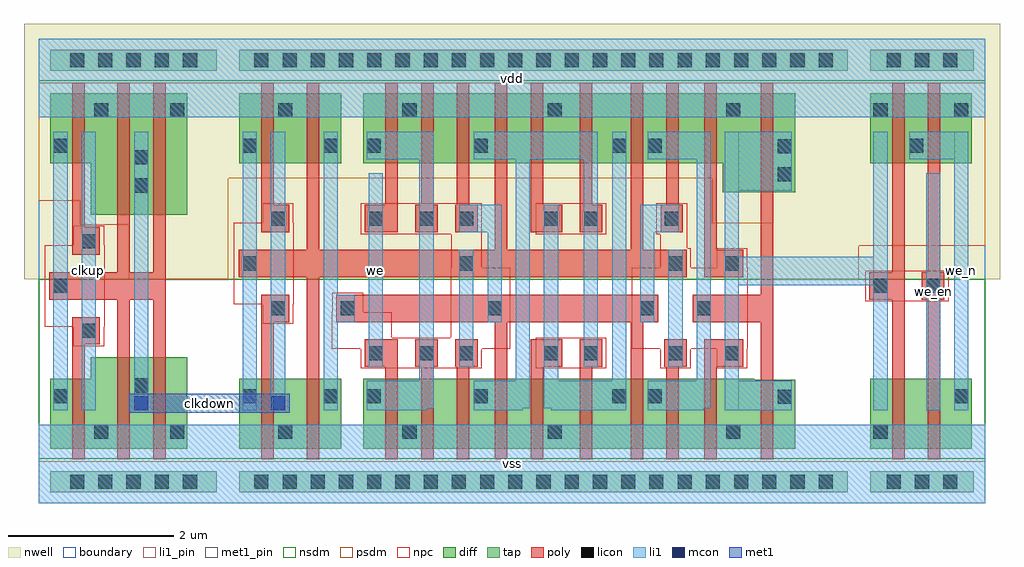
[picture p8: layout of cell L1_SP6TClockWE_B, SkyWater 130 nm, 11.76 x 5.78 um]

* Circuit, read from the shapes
.subckt L1_SP6TClockWE_B clkdown clkup vdd vss we we_en we_n
XM1 vss clkup n1 vss sky130_fd_pr__nfet_01v8 w=0.84 l=0.15
XM2 clkdown n1 vss vss sky130_fd_pr__nfet_01v8 w=1.1 l=0.15 m=2
XM3 vss clkdown n2 vss sky130_fd_pr__nfet_01v8 w=0.84 l=0.15
XM4 n3 n2 vss vss sky130_fd_pr__nfet_01v8 w=0.84 l=0.15
XM5 vss we n4 vss sky130_fd_pr__nfet_01v8 w=0.84 l=0.15
XM6 n5 n4 vss vss sky130_fd_pr__nfet_01v8 w=0.84 l=0.15
XM7 n6 n2 n5 vss sky130_fd_pr__nfet_01v8 w=0.84 l=0.15
XM8 n7 n3 n6 vss sky130_fd_pr__nfet_01v8 w=0.84 l=0.15
XM9 vss n8 n7 vss sky130_fd_pr__nfet_01v8 w=0.84 l=0.15
XM10 n8 n6 vss vss sky130_fd_pr__nfet_01v8 w=0.84 l=0.15
XM11 n9 n3 n8 vss sky130_fd_pr__nfet_01v8 w=0.84 l=0.15
XM12 n10 n2 n9 vss sky130_fd_pr__nfet_01v8 w=0.84 l=0.15
XM13 vss L1_nand2_x0_0/i0 n10 vss sky130_fd_pr__nfet_01v8 w=0.84 l=0.15
XM14 L1_nand2_x0_0/i0 n9 vss vss sky130_fd_pr__nfet_01v8 w=0.83 l=0.15
XM15 n11 L1_nand2_x0_0/i0 vss vss sky130_fd_pr__nfet_01v8 w=0.84 l=0.15
XM16 we_n we_en n11 vss sky130_fd_pr__nfet_01v8 w=0.84 l=0.15
XM17 vdd clkup n1 vdd sky130_fd_pr__pfet_01v8 w=0.84 l=0.15
XM18 clkdown n1 vdd vdd sky130_fd_pr__pfet_01v8 w=1.46 l=0.15 m=2
XM19 vdd clkdown n2 vdd sky130_fd_pr__pfet_01v8 w=0.84 l=0.15
XM20 n3 n2 vdd vdd sky130_fd_pr__pfet_01v8 w=0.84 l=0.15
XM21 vdd we n4 vdd sky130_fd_pr__pfet_01v8 w=0.84 l=0.15
XM22 n12 n4 vdd vdd sky130_fd_pr__pfet_01v8 w=0.84 l=0.15
XM23 n6 n3 n12 vdd sky130_fd_pr__pfet_01v8 w=0.84 l=0.15
XM24 n13 n2 n6 vdd sky130_fd_pr__pfet_01v8 w=0.84 l=0.15
XM25 vdd n8 n13 vdd sky130_fd_pr__pfet_01v8 w=0.84 l=0.15
XM26 n8 n6 vdd vdd sky130_fd_pr__pfet_01v8 w=0.84 l=0.15
XM27 n9 n2 n8 vdd sky130_fd_pr__pfet_01v8 w=0.84 l=0.15
XM28 n14 n3 n9 vdd sky130_fd_pr__pfet_01v8 w=0.84 l=0.15
XM29 vdd L1_nand2_x0_0/i0 n14 vdd sky130_fd_pr__pfet_01v8 w=0.84 l=0.15
XM30 L1_nand2_x0_0/i0 n9 vdd vdd sky130_fd_pr__pfet_01v8 w=1.19 l=0.15
XM31 we_n L1_nand2_x0_0/i0 vdd vdd sky130_fd_pr__pfet_01v8 w=0.84 l=0.15
XM32 vdd we_en we_n vdd sky130_fd_pr__pfet_01v8 w=0.84 l=0.15
.ends

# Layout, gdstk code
import gdstk
lib = gdstk.Library(unit=1e-6, precision=1e-09)
def R(c, l, rs):  # rectangles x0, y0, x1, y1
    for r in rs: c.add(gdstk.rectangle(r[:2], r[2:], *l))
def A(c, l, x, y, w, h, nx, ny, dx, dy):  # array of equal rectangles
    R(c, l, [(x+i*dx, y+j*dy, x+i*dx+w, y+j*dy+h) for i in range(nx) for j in range(ny)])
def P(c, l, *ps):  # polygons
    for p in ps: c.add(gdstk.Polygon(p, *l))
nwell = (64, 20)
diff = (65, 20)
tap = (65, 44)
poly = (66, 20)
licon = (66, 44)
li1_pin = (67, 16)
li1 = (67, 20)
mcon = (67, 44)
met1_pin = (68, 16)
met1 = (68, 20)
nsdm = (93, 44)
psdm = (94, 20)
npc = (95, 20)
boundary = (235, 4)

l1_nand2_x0 = lib.new_cell('L1_nand2_x0')
R(l1_nand2_x0, nwell, [(-0.18,2.7,1.7,5.78)])
R(l1_nand2_x0, diff, [(0.135,0.66,1.36,1.5), (0.135,4.1,1.36,4.94)])
R(l1_nand2_x0, tap, [(0.135,0.135,1.385,0.385), (0.135,5.215,1.385,5.465)])
P(l1_nand2_x0, poly, [(0.83,0.53),(0.83,2.455),(0.76,2.455),(0.76,2.785),(0.83,2.785),(0.83,5.07),(0.98,5.07),(0.98,2.785),(1.03,2.785),(1.03,2.455),(0.98,2.455),(0.98,0.53)],
  [(0.4,0.53),(0.4,2.455),(0.125,2.455),(0.125,2.785),(0.4,2.785),(0.4,5.07),(0.55,5.07),(0.55,0.53)])
A(l1_nand2_x0, licon, 0.335, 0.175, 0.17, 0.17, 3, 2, 0.34, 5.08)
R(l1_nand2_x0, licon, [(0.175,0.78,0.345,0.95), (1.15,1.205,1.32,1.375), (0.175,2.535,0.345,2.705), (0.81,2.535,0.98,2.705), (0.605,4.225,0.775,4.395), (0.175,4.65,0.345,4.82), (1.15,4.65,1.32,4.82)])
R(l1_nand2_x0, li1_pin, [(0,0,1.52,0.95), (0.175,1.12,0.345,4.48), (0.81,1.12,0.98,3.975), (1.15,1.12,1.32,4.48), (0,4.65,1.52,5.6)])
R(l1_nand2_x0, li1, [(0,0,1.52,0.95), (0.175,1.12,0.345,4.48), (0.81,1.12,0.98,3.975), (0,4.65,1.52,5.6)])
P(l1_nand2_x0, li1, [(1.15,1.12),(1.15,4.145),(0.605,4.145),(0.605,4.48),(1.32,4.48),(1.32,1.12)])
R(l1_nand2_x0, nsdm, [(0,0.535,1.52,2.7), (0,5.09,1.52,5.6)])
R(l1_nand2_x0, psdm, [(0,0,1.52,0.51), (0,3.105,1.52,5.065)])
R(l1_nand2_x0, npc, [(0.075,2.435,1.08,2.805)])
l1_nand2_x0.add(gdstk.Label('nq', (1.235,2.8), layer=67, texttype=16))
l1_nand2_x0.add(gdstk.Label('i1', (0.895,2.548), layer=67, texttype=16))
l1_nand2_x0.add(gdstk.Label('i0', (0.26,2.8), layer=67, texttype=16))
l1_nand2_x0.add(gdstk.Label('vdd', (0.76,5.125), layer=67, texttype=16))
l1_nand2_x0.add(gdstk.Label('vss', (0.76,0.475), layer=67, texttype=16))

l1_dff_x1 = lib.new_cell('L1_dff_x1')
R(l1_dff_x1, nwell, [(-0.18,2.7,7.78,5.78)])
R(l1_dff_x1, diff, [(0.135,0.66,1.36,1.5), (0.135,4.1,1.36,4.94)])
P(l1_dff_x1, diff, [(5.96,3.75),(5.96,4.1),(1.63,4.1),(1.63,4.94),(6.83,4.94),(6.83,3.75)],
  [(1.63,0.66),(1.63,1.5),(6.34,1.5),(6.34,1.49),(6.83,1.49),(6.83,0.66)])
R(l1_dff_x1, tap, [(0.135,0.135,7.465,0.385), (0.135,5.215,7.465,5.465)])
P(l1_dff_x1, poly, [(5.735,0.53),(5.735,1.975),(6.205,1.975),(6.205,1.645),(5.885,1.645),(5.885,0.53)],
  [(5.735,2.725),(5.735,5.07),(5.885,5.07),(5.885,3.055),(6.205,3.055),(6.205,2.725)],
  [(3.645,0.53),(3.645,1.975),(4.025,1.975),(4.025,1.645),(3.795,1.645),(3.795,0.53)],
  [(6.415,0.53),(6.415,2.185),(5.595,2.185),(5.595,2.515),(6.415,2.515),(6.415,5.07),(6.565,5.07),(6.565,0.53)],
  [(3.645,3.265),(3.645,5.07),(3.795,5.07),(3.795,3.595),(4.025,3.595),(4.025,3.265)],
  [(5.28,0.53),(5.28,1.645),(5.255,1.645),(5.255,1.975),(5.525,1.975),(5.525,1.645),(5.43,1.645),(5.43,0.53)],
  [(3.215,0.53),(3.215,2.185),(1.305,2.185),(1.305,2.515),(5.185,2.515),(5.185,2.185),(5,2.185),(5,0.53),(4.85,0.53),(4.85,2.185),(3.365,2.185),(3.365,0.53)],
  [(0.4,0.53),(0.4,2.515),(0.735,2.515),(0.735,2.185),(0.55,2.185),(0.55,0.53)],
  [(2.755,0.53),(2.755,1.645),(2.735,1.645),(2.735,1.975),(3.005,1.975),(3.005,1.645),(2.905,1.645),(2.905,0.53)],
  [(0.4,3.265),(0.4,5.07),(0.55,5.07),(0.55,3.595),(0.735,3.595),(0.735,3.265)],
  [(2.735,3.265),(2.735,3.595),(2.755,3.595),(2.755,5.07),(2.905,5.07),(2.905,3.595),(3.005,3.595),(3.005,3.265)],
  [(4.235,3.265),(4.235,5.07),(4.385,5.07),(4.385,3.595),(4.505,3.595),(4.505,3.265)],
  [(2.255,3.265),(2.255,3.595),(2.325,3.595),(2.325,5.07),(2.475,5.07),(2.475,3.595),(2.525,3.595),(2.525,3.265)],
  [(5.21,3.265),(5.21,3.595),(5.28,3.595),(5.28,5.07),(5.43,5.07),(5.43,3.595),(5.48,3.595),(5.48,3.265)],
  [(0.945,0.53),(0.945,2.725),(0.125,2.725),(0.125,3.055),(0.945,3.055),(0.945,5.07),(1.095,5.07),(1.095,3.055),(3.215,3.055),(3.215,5.07),(3.365,5.07),(3.365,3.055),(4.85,3.055),(4.85,5.07),(5,5.07),(5,3.055),(5.525,3.055),(5.525,2.725),(1.095,2.725),(1.095,0.53)],
  [(2.325,0.53),(2.325,1.645),(2.255,1.645),(2.255,1.975),(2.525,1.975),(2.525,1.645),(2.475,1.645),(2.475,0.53)],
  [(1.895,0.53),(1.895,1.645),(1.645,1.645),(1.645,1.975),(2.045,1.975),(2.045,0.53)],
  [(1.645,3.265),(1.645,3.595),(1.895,3.595),(1.895,5.07),(2.045,5.07),(2.045,3.265)],
  [(4.235,0.53),(4.235,1.975),(4.505,1.975),(4.505,1.645),(4.385,1.645),(4.385,0.53)])
A(l1_dff_x1, licon, 0.315, 0.175, 0.17, 0.17, 21, 2, 0.34, 5.08)
R(l1_dff_x1, licon, [(0.605,0.78,0.775,0.95), (2.1,0.78,2.27,0.95), (3.85,0.78,4.02,0.95), (6,0.78,6.17,0.95), (6.62,1.2,6.79,1.37), (0.175,1.205,0.345,1.375), (1.15,1.205,1.32,1.375), (1.67,1.205,1.84,1.375), (2.96,1.205,3.13,1.375), (4.625,1.205,4.795,1.375), (5.055,1.205,5.225,1.375), (1.695,1.725,1.865,1.895), (2.305,1.725,2.475,1.895), (2.785,1.725,2.955,1.895), (3.805,1.725,3.975,1.895), (4.285,1.725,4.455,1.895), (5.305,1.725,5.475,1.895), (5.985,1.725,6.155,1.895), (0.515,2.265,0.685,2.435), (1.355,2.265,1.525,2.435), (3.125,2.265,3.295,2.435), (4.965,2.265,5.135,2.435), (5.645,2.265,5.815,2.435), (0.175,2.805,0.345,2.975), (2.785,2.805,2.955,2.975), (5.305,2.805,5.475,2.975), (5.985,2.805,6.155,2.975), (0.515,3.345,0.685,3.515), (1.695,3.345,1.865,3.515), (2.305,3.345,2.475,3.515), (2.785,3.345,2.955,3.515), (3.805,3.345,3.975,3.515), (4.285,3.345,4.455,3.515), (5.26,3.345,5.43,3.515), (6.62,3.88,6.79,4.05), (6.62,4.22,6.79,4.39), (0.175,4.225,0.345,4.395), (1.15,4.225,1.32,4.395), (1.67,4.225,1.84,4.395), (2.96,4.225,3.13,4.395), (4.625,4.225,4.795,4.395), (5.055,4.225,5.225,4.395), (0.605,4.65,0.775,4.82), (2.1,4.65,2.27,4.82), (3.85,4.65,4.02,4.82), (6,4.65,6.17,4.82)])
R(l1_dff_x1, li1_pin, [(0,0,7.6,0.95), (0.515,1.12,0.685,4.48), (5.985,1.12,6.155,4.48), (1.695,1.645,1.865,3.975), (0,4.65,7.6,5.6)])
R(l1_dff_x1, li1, [(0,0,7.6,0.95), (0.175,1.12,0.345,4.48), (0.515,1.12,0.685,4.48), (1.695,1.645,1.865,3.975), (2.785,1.645,2.955,3.055), (5.305,1.645,5.475,3.055), (0,4.65,7.6,5.6)])
P(l1_dff_x1, li1, [(5.055,1.12),(5.055,1.475),(5.645,1.475),(5.645,4.145),(5.055,4.145),(5.055,4.48),(5.73,4.48),(5.73,4.475),(5.815,4.475),(5.815,1.145),(5.73,1.145),(5.73,1.12)],
  [(3.89,1.12),(3.89,1.145),(3.805,1.145),(3.805,3.595),(3.975,3.595),(3.975,1.475),(4.625,1.475),(4.625,4.48),(4.795,4.48),(4.795,1.12)],
  [(2.96,1.12),(2.96,1.475),(3.465,1.475),(3.465,4.145),(2.96,4.145),(2.96,4.48),(4.37,4.48),(4.37,4.475),(4.455,4.475),(4.455,1.645),(4.285,1.645),(4.285,4.145),(3.635,4.145),(3.635,1.145),(3.55,1.145),(3.55,1.12)],
  [(1.67,1.12),(1.67,1.475),(2.305,1.475),(2.305,4.145),(1.67,4.145),(1.67,4.48),(2.39,4.48),(2.39,4.475),(2.475,4.475),(2.475,1.145),(2.39,1.145),(2.39,1.12)],
  [(5.985,1.12),(5.985,4.48),(6.79,4.48),(6.79,3.765),(6.155,3.765),(6.155,1.475),(6.79,1.475),(6.79,1.12)],
  [(4.965,2.185),(4.965,3.595),(5.43,3.595),(5.43,3.265),(5.135,3.265),(5.135,2.185)],
  [(1.15,1.12),(1.15,4.48),(1.32,4.48),(1.32,2.515),(1.525,2.515),(1.525,2.185),(1.32,2.185),(1.32,1.12)],
  [(3.125,2.185),(3.125,3.265),(2.785,3.265),(2.785,3.595),(3.295,3.595),(3.295,2.185)])
R(l1_dff_x1, nsdm, [(0,0.535,7.6,2.7), (0,5.09,7.6,5.6)])
R(l1_dff_x1, psdm, [(0,0,7.6,0.51)])
P(l1_dff_x1, psdm, [(6.555,2.7),(6.555,3.375),(5.83,3.375),(5.83,3.915),(0,3.915),(0,5.065),(7.6,5.065),(7.6,2.7)])
R(l1_dff_x1, npc, [(3.705,1.625,4.555,1.995), (3.705,3.245,4.555,3.615)])
P(l1_dff_x1, npc, [(5.205,1.625),(5.205,1.86),(4.86,1.86),(4.86,2.84),(5.205,2.84),(5.205,3.245),(5.16,3.245),(5.16,3.615),(5.53,3.615),(5.53,3.075),(5.575,3.075),(5.575,2.84),(5.885,2.84),(5.885,3.075),(6.255,3.075),(6.255,2.84),(6.26,2.84),(6.26,1.86),(6.255,1.86),(6.255,1.625),(5.885,1.625),(5.885,1.86),(5.575,1.86),(5.575,1.625)],
  [(1.595,1.625),(1.595,1.86),(1.25,1.86),(1.25,2.3),(1.255,2.3),(1.255,2.535),(1.625,2.535),(1.625,2.3),(1.97,2.3),(1.97,1.995),(2.68,1.995),(2.68,2.84),(2.685,2.84),(2.685,3.245),(1.595,3.245),(1.595,3.615),(3.055,3.615),(3.055,2.84),(3.4,2.84),(3.4,1.86),(3.055,1.86),(3.055,1.625)],
  [(0.415,2.165),(0.415,2.4),(0.07,2.4),(0.07,3.38),(0.415,3.38),(0.415,3.615),(0.785,3.615),(0.785,3.38),(0.79,3.38),(0.79,2.4),(0.785,2.4),(0.785,2.165)])
l1_dff_x1.add(gdstk.Label('q', (6.07,2.8), layer=67, texttype=16))
l1_dff_x1.add(gdstk.Label('i', (1.78,2.81), layer=67, texttype=16))
l1_dff_x1.add(gdstk.Label('clk', (0.6,2.8), layer=67, texttype=16))
l1_dff_x1.add(gdstk.Label('vss', (3.8,0.475), layer=67, texttype=16))
l1_dff_x1.add(gdstk.Label('vdd', (3.8,5.125), layer=67, texttype=16))

l1_buf_x2 = lib.new_cell('L1_buf_x2')
R(l1_buf_x2, nwell, [(-0.18,2.7,2.46,5.78)])
P(l1_buf_x2, diff, [(0.625,3.48),(0.625,4.1),(0.135,4.1),(0.135,4.94),(1.79,4.94),(1.79,3.48)],
  [(0.135,0.66),(0.135,1.5),(0.625,1.5),(0.625,1.76),(1.79,1.76),(1.79,0.66)])
R(l1_buf_x2, tap, [(0.135,0.135,2.145,0.385), (0.135,5.215,2.145,5.465)])
P(l1_buf_x2, poly, [(0.4,0.53),(0.4,2.245),(0.735,2.245),(0.735,1.915),(0.55,1.915),(0.55,0.53)],
  [(0.4,2.995),(0.4,5.07),(0.55,5.07),(0.55,3.325),(0.735,3.325),(0.735,2.995)],
  [(0.945,0.53),(0.945,2.455),(0.125,2.455),(0.125,2.785),(0.945,2.785),(0.945,5.07),(1.095,5.07),(1.095,2.785),(1.375,2.785),(1.375,5.07),(1.525,5.07),(1.525,0.53),(1.375,0.53),(1.375,2.455),(1.095,2.455),(1.095,0.53)])
A(l1_buf_x2, licon, 0.375, 0.175, 0.17, 0.17, 5, 2, 0.34, 5.08)
R(l1_buf_x2, licon, [(0.665,0.78,0.835,0.95), (1.58,0.78,1.75,0.95), (0.175,1.205,0.345,1.375), (1.15,1.335,1.32,1.505), (0.515,1.995,0.685,2.165), (0.175,2.535,0.345,2.705), (0.515,3.075,0.685,3.245), (1.15,3.745,1.32,3.915), (1.15,4.085,1.32,4.255), (0.175,4.225,0.345,4.395), (0.665,4.65,0.835,4.82), (1.58,4.65,1.75,4.82)])
R(l1_buf_x2, li1_pin, [(0,0,2.28,0.95), (0.515,1.12,0.685,4.48), (1.15,1.12,1.32,4.48), (0,4.65,2.28,5.6)])
R(l1_buf_x2, li1, [(0,0,2.28,0.95), (0.175,1.12,0.345,4.48), (0.515,1.12,0.685,4.48), (1.15,1.12,1.32,4.48), (0,4.65,2.28,5.6)])
R(l1_buf_x2, nsdm, [(0,0.535,2.28,2.7), (0,5.09,2.28,5.6)])
R(l1_buf_x2, psdm, [(0,0,2.28,0.51)])
P(l1_buf_x2, psdm, [(1.085,2.7),(1.085,3.355),(0.5,3.355),(0.5,3.645),(0,3.645),(0,5.065),(2.28,5.065),(2.28,2.7)])
P(l1_buf_x2, npc, [(0.415,1.895),(0.415,2.13),(0.07,2.13),(0.07,3.11),(0.415,3.11),(0.415,3.345),(0.785,3.345),(0.785,3.11),(0.79,3.11),(0.79,2.13),(0.785,2.13),(0.785,1.895)])
l1_buf_x2.add(gdstk.Label('q', (1.235,2.8), layer=67, texttype=16))
l1_buf_x2.add(gdstk.Label('i', (0.6,2.8), layer=67, texttype=16))
l1_buf_x2.add(gdstk.Label('vss', (1.14,0.475), layer=67, texttype=16))
l1_buf_x2.add(gdstk.Label('vdd', (1.14,5.125), layer=67, texttype=16))

l1_sp6tclockwe_b = lib.new_cell('L1_SP6TClockWE_B')
R(l1_sp6tclockwe_b, li1_pin, [(0,0,11.4,0.95), (0.515,1.12,0.685,4.48), (10.69,1.12,10.86,3.975), (11.03,1.12,11.2,4.48), (3.975,1.645,4.145,3.975), (0,4.65,11.4,5.6)])
R(l1_sp6tclockwe_b, li1, [(0,0,11.4,0.95), (0.515,1.12,0.685,4.48), (1.15,1.12,1.32,4.48), (2.795,1.12,2.965,1.29), (10.69,1.12,10.86,3.975), (11.03,1.12,11.2,4.48), (3.975,1.645,4.145,3.975), (8.35,2.63,10.14,2.97), (0,4.65,11.4,5.6)])
R(l1_sp6tclockwe_b, mcon, [(1.15,1.12,1.32,1.29), (2.795,1.12,2.965,1.29)])
R(l1_sp6tclockwe_b, met1_pin, [(1.09,1.09,3.025,1.32)])
R(l1_sp6tclockwe_b, met1, [(1.09,1.09,3.025,1.32)])
R(l1_sp6tclockwe_b, boundary, [(0,0,11.4,5.6)])
l1_sp6tclockwe_b.add(gdstk.Reference(l1_nand2_x0, (9.88,0)))
l1_sp6tclockwe_b.add(gdstk.Reference(l1_dff_x1, (2.28,0)))
l1_sp6tclockwe_b.add(gdstk.Reference(l1_buf_x2, (0,0)))
l1_sp6tclockwe_b.add(gdstk.Label('clkdown', (2.058,1.205), layer=68, texttype=16))
l1_sp6tclockwe_b.add(gdstk.Label('vdd', (5.7,5.125), layer=67, texttype=16))
l1_sp6tclockwe_b.add(gdstk.Label('vss', (5.7,0.475), layer=67, texttype=16))
l1_sp6tclockwe_b.add(gdstk.Label('we_n', (11.115,2.8), layer=67, texttype=16))
l1_sp6tclockwe_b.add(gdstk.Label('we_en', (10.775,2.548), layer=67, texttype=16))
l1_sp6tclockwe_b.add(gdstk.Label('we', (4.06,2.81), layer=67, texttype=16))
l1_sp6tclockwe_b.add(gdstk.Label('clkup', (0.6,2.8), layer=67, texttype=16))

lib.write_gds('L1_SP6TClockWE_B.gds')
